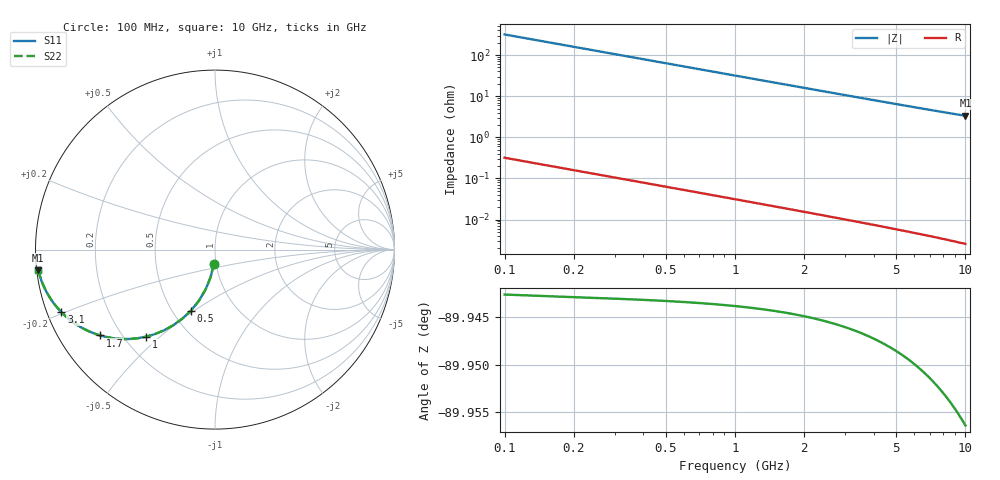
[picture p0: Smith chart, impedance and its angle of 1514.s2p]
# Hz S RI R 50.00
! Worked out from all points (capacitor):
!   100 points, 100 MHz to 10 GHz, reference 50 ohm
!   read as one part in shunt: C = 5.01 pF near 100 MHz
!   lowest |Z| = 3.34 ohm at 10 GHz (marker M1)
!   S11 on the Smith chart (normalised r, x): 100 MHz: 0.98, -0.15; 500 MHz: 0.62, -0.49; 1 GHz: 0.29, -0.45; 1.7 GHz: 0.12, -0.33; 3.1 GHz: 0.04, -0.20; 10 GHz: 0.00, -0.06
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1e8  -0.00619 -0.0781  0.9937 -0.0782  0.9937 -0.0782  -0.00619 -0.0781
2e8  -0.0243 -0.1533  0.9757 -0.1536  0.9757 -0.1536  -0.0243 -0.1533
3e8  -0.0529 -0.2232  0.947 -0.2236  0.947 -0.2236  -0.0529 -0.2232
4e8  -0.0902 -0.2858  0.9097 -0.2864  0.9097 -0.2864  -0.0902 -0.2858
5e8  -0.1341 -0.3399  0.8658 -0.3407  0.8658 -0.3407  -0.1341 -0.3399
6e8  -0.1823 -0.3852  0.8177 -0.386  0.8177 -0.386  -0.1823 -0.3852
7e8  -0.2327 -0.4216  0.7672 -0.4226  0.7672 -0.4226  -0.2327 -0.4216
8e8  -0.2837 -0.4497  0.7163 -0.4509  0.7163 -0.4509  -0.2837 -0.4497
1e9  -0.3821 -0.4847  0.6179 -0.4861  0.6179 -0.4861  -0.3821 -0.4847
1.3e9  -0.5108 -0.4984  0.4891 -0.5003  0.4891 -0.5003  -0.5108 -0.4984
1.5e9  -0.5815 -0.4917  0.4184 -0.4939  0.4184 -0.4939  -0.5815 -0.4917
1.7e9  -0.6408 -0.478  0.3591 -0.4805  0.3591 -0.4805  -0.6408 -0.478
1.8e9  -0.6666 -0.4696  0.3333 -0.4722  0.3333 -0.4722  -0.6666 -0.4696
2.1e9  -0.7312 -0.4413  0.2687 -0.4444  0.2687 -0.4444  -0.7312 -0.4413
2.4e9  -0.7803 -0.4117  0.2197 -0.4153  0.2197 -0.4153  -0.7803 -0.4117
3.1e9  -0.8555 -0.3488  0.1445 -0.3534  0.1445 -0.3534  -0.8555 -0.3488
3.4e9  -0.8768 -0.3256  0.1231 -0.3306  0.1231 -0.3306  -0.8768 -0.3256
4.2e9  -0.9156 -0.2742  0.0843 -0.2805  0.0843 -0.2805  -0.9156 -0.2742
5.1e9  -0.9412 -0.2308  0.0587 -0.2385  0.0587 -0.2385  -0.9412 -0.2308
6.7e9  -0.9651 -0.1778  0.0348 -0.188  0.0348 -0.188  -0.9651 -0.1778
8.4e9  -0.9776 -0.1408  0.0223 -0.1537  0.0223 -0.1537  -0.9776 -0.1408
1e10  -0.9841 -0.1162  0.0157 -0.1318  0.0157 -0.1318  -0.9841 -0.1162
